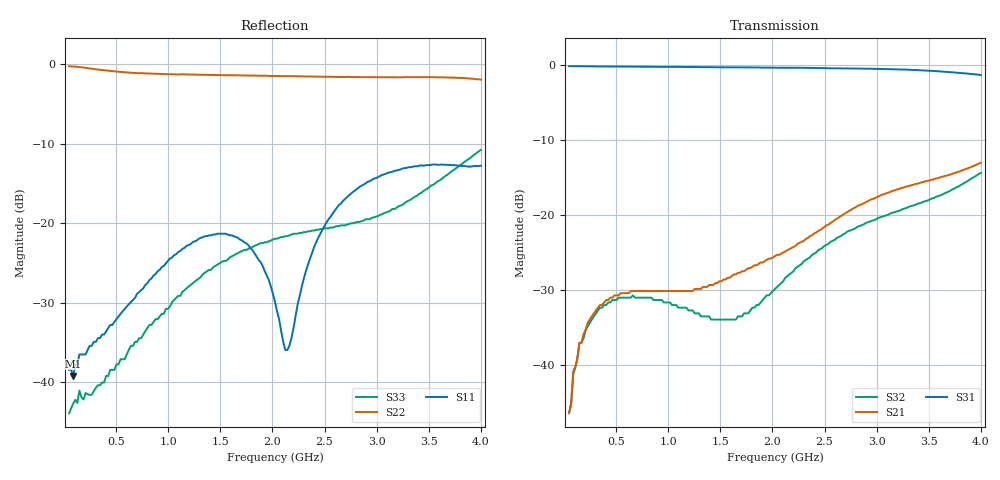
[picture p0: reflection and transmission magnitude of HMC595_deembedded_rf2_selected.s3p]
!Hittite Microwave Corporation
!20 Alpha Road
!Chelmsford, MA 01824
!Tel: 978-250-3343
!Fax: 978-250-3373
!Device: HMC595, DC-3 GHz, GaAs T/R Switch in SOT26 SMT package
!Misc: Vctl = 5V, Port1 = RFC, Port2 = RF1, Port3 = RF2, RF2 ON, Room
# MHZ S MA R 50
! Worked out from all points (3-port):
!   201 points, 50 MHz to 4 GHz, reference 50 ohm
!   strongest paths, dB at 50 MHz, 1.038 GHz, 2.025 GHz, 3.013 GHz, 4 GHz:
!     S31: -0.2, -0.3, -0.4, -0.6, -1.4
!     S21: -46.5, -30.2, -25.5, -17.6, -13.1
!     S32: -46.4, -32.0, -29.9, -20.4, -14.4
!   lowest |S11| = -39.2 dB at 89.5 MHz (marker M1), VSWR 1.02, Z = 51.1 - j0.059 ohm
!   |S11| at or under -10 dB: start of sweep to end of sweep
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50  0.012 -2.0  0.004739 78.5  0.979 -3.2
    0.004745 78.7  0.97 -17.0  0.004783 74.5
    0.977 -3.2  0.004784 74.4  0.006403 5.8
89.5  0.011 -3.0  0.009047 81.3  0.976 -5.7
      0.009047 81.3  0.964 -30.2  0.00869 74.8
      0.977 -5.6  0.00869 74.9  0.007372 -4.5
326.5  0.019 -42.6  0.024 42.7  0.972 -20.1
       0.024 42.7  0.923 -98.0  0.023 23.6
       0.973 -20.1  0.023 23.7  0.009612 -45.1
741.25  0.038 -104.0  0.031 11.2  0.969 -45.2
        0.031 11.3  0.877 -171.2  0.028 -36.8
        0.969 -45.1  0.028 -36.8  0.019 -108.1
1353.5  0.083 175.2  0.033 3.0  0.963 -82.3
        0.033 3.0  0.856 123.3  0.021 -123.5
        0.963 -82.3  0.021 -123.5  0.049 -162.5
2025  0.032 99.7  0.053 -4.4  0.954 -123.4
      0.053 -4.3  0.841 65.1  0.032 109.1
      0.954 -123.4  0.032 109.2  0.08 153.5
2143.5  0.016 141.2  0.058 -6.6  0.955 -130.7
        0.058 -6.5  0.84 55.1  0.039 91.5
        0.955 -130.7  0.039 91.5  0.083 146.2
2439.75  0.081 174.7  0.078 -14.1  0.949 -149.3
         0.078 -14.1  0.833 30.2  0.058 52.9
         0.949 -149.2  0.058 53.0  0.091 127.6
2894  0.178 112.3  0.121 -38.2  0.94 -178.2
      0.121 -38.2  0.828 -6.5  0.088 4.6
      0.94 -178.2  0.088 4.6  0.106 95.5
4000  0.23 -6.7  0.222 -104.8  0.854 106.2
      0.222 -104.7  0.798 -81.4  0.19 -77.8
      0.853 106.2  0.19 -77.7  0.289 6.5
